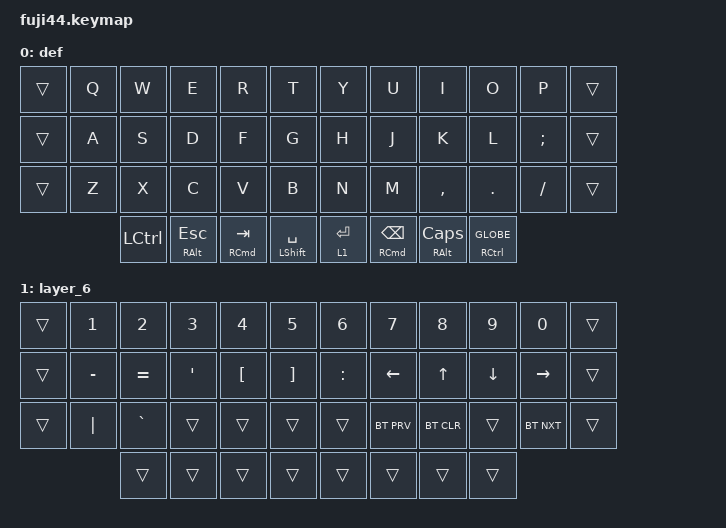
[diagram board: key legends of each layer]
/*
 * Copyright (c) 2020 The ZMK Contributors
 *
 * SPDX-License-Identifier: MIT
 */

#include <behaviors.dtsi>
#include <dt-bindings/zmk/bt.h>
#include <dt-bindings/zmk/keys.h>

/ {
    combos {
        compatible = "zmk,combos";

        combo_esc {
            timeout-ms = <50>;
            key-positions = <0 1>;
            bindings = <&kp ESC>;
        };
    };

    behaviors {
        ss_hs_modmorph: ss_hs_modmorph {
            compatible = "zmk,behavior-mod-morph";
            label = "SS_HS_MODMORPH";
            bindings = <&kp M>, <&kp RIGHT_BRACKET>;

            #binding-cells = <0>;
            mods = <(MOD_LSFT|MOD_RSFT)>;
        };

        kh_hs_tapdance: kh_hs_tapdance {
            compatible = "zmk,behavior-tap-dance";
            label = "KH_HS_TAPDANCE";
            #binding-cells = <0>;
            tapping-term-ms = <200>;
            bindings = <&kp LEFT_BRACKET>, <&kp RIGHT_BRACKET>;
        };

        hrm: hrm {
            compatible = "zmk,behavior-hold-tap";
            #binding-cells = <2>;
            flavor = "tap-preferred";
            tapping-term-ms = <200>;
            quick-tap-ms = <200>;
            require-prior-idle-ms = <125>;
            bindings = <&kp>, <&kp>;
        };
    };

    macros {
        lang: new_macro {
            compatible = "zmk,behavior-macro";
            #binding-cells = <0>;
            bindings = <&kp RCTRL &kp SPACE>;
            label = "NEW_MACRO";
        };
    };

    keymap {
        compatible = "zmk,keymap";

        def {
            bindings = <
&trans  &kp Q  &kp W      &kp E                 &kp R                  &kp T                   &kp Y        &kp U                        &kp I               &kp O            &kp P     &trans
&trans  &kp A  &kp S      &kp D                 &kp F                  &kp G                   &kp H        &kp J                        &kp K               &kp L            &kp SEMI  &trans
&trans  &kp Z  &kp X      &kp C                 &kp V                  &kp B                   &kp N        &kp M                        &kp COMMA           &kp DOT          &kp FSLH  &trans
               &kp LCTRL  &mt RIGHT_ALT ESCAPE  &mt RIGHT_COMMAND TAB  &mt LEFT_SHIFT SPACE    &lt 1 ENTER  &mt RIGHT_COMMAND BACKSPACE  &mt RIGHT_ALT CLCK  &mt RCTRL GLOBE
            >;
        };

        layer_6 {
            bindings = <
&trans  &kp N1     &kp N2     &kp N3   &kp N4            &kp N5               &kp N6     &kp N7          &kp N8        &kp N9          &kp N0           &trans
&trans  &kp MINUS  &kp EQUAL  &kp SQT  &kp LEFT_BRACKET  &kp RIGHT_BRACKET    &kp COLON  &kp LEFT_ARROW  &kp UP_ARROW  &kp DOWN_ARROW  &kp RIGHT_ARROW  &trans
&trans  &kp PIPE   &kp GRAVE  &trans   &trans            &trans               &trans     &bt BT_PRV      &bt BT_CLR    &trans          &bt BT_NXT       &trans
                   &trans     &trans   &trans            &trans               &trans     &trans          &trans        &trans
            >;
        };
    };
};
